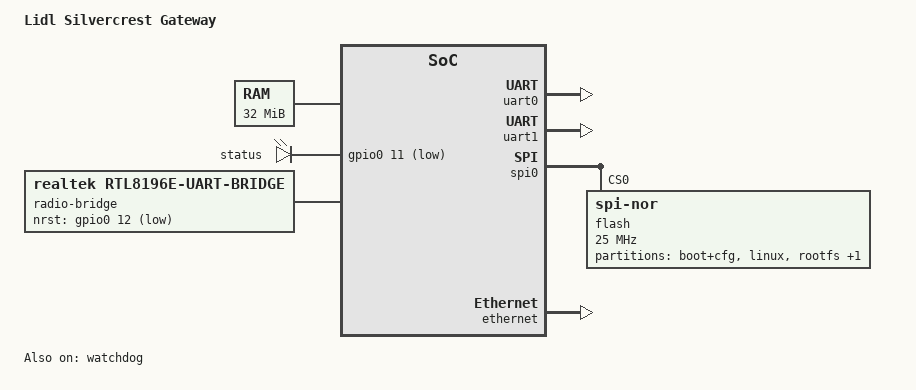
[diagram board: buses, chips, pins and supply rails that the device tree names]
// SPDX-License-Identifier: GPL-2.0
/dts-v1/;
#include <dt-bindings/gpio/gpio.h>
#include "rtl819x.dtsi"

/ {
	compatible = "realtek,rtl8196e", "realtek,rtl819x-soc";
	model = "Lidl Silvercrest Gateway";

	chosen {
	    bootargs = "console=ttyS0,38400 loglevel=7 root=/dev/mtdblock2 rootfstype=squashfs";
	};

	memory@0 {
		device_type = "memory";
		reg = <0x00000000 0x02000000>;  /* 32MB */
	};

	reserved-memory {
		#address-cells = <1>;
		#size-cells = <1>;
		ranges;

		/* One 4 KB page, high DRAM just below the btcode stack, shared
		 * by three consumers that address it RELATIVE to this node:
		 *   - boothold flag words at the page TOP (boothold tool reads
		 *     this node at runtime via /sys/firmware/devicetree),
		 *   - the watchdog panic record at the page BASE (bound via
		 *     the memory-region phandle below),
		 *   - the bootloader read side (compile-time constant per
		 *     board — must match this address).
		 * A board with a different DRAM size relocates the node (and
		 * must keep the boothold: label so the phandle resolves). */
		boothold: boothold@1ffe000 {
			reg = <0x01FFE000 0x1000>;  /* 4KB reserved for boothold flag (high DRAM, just below btcode stack) */
			no-map;
		};
	};

	leds {
		compatible = "gpio-leds-pwm";

		status-led {
			label = "status";
			gpios = <&gpio0 11 GPIO_ACTIVE_LOW>;
			default-state = "off";
		};

		/* LAN LED (GPIO B2 / LED_PORT0) is hardwired to the switch
		 * ASIC LED output — GPIO has no physical effect on this LED.
		 * It is controlled via LEDCREG in the Ethernet driver. */
	};

	/* Board wiring of the EFR32 radio link, consumed by the in-kernel
	 * rtl8196e-uart-bridge at init to seed its defaults.  Module
	 * parameters (kernel cmdline or sysfs) override these values.
	 * The node is optional: without it the driver falls back to the
	 * Lidl defaults (nRST on GPIO 12 / pad B4, hardware flow control).
	 * No platform driver binds here — the bridge looks the node up by
	 * compatible; the resulting unbound platform device is harmless.
	 *
	 * flow-control: "hw" (RTS/CTS), "sw" (XON/XOFF) or "none",
	 * matching how the board wires the EFR32 UART. */
	radio-bridge {
		compatible = "realtek,rtl8196e-uart-bridge";
		nrst-gpios = <&gpio0 12 (GPIO_ACTIVE_LOW | GPIO_OPEN_DRAIN)>;
		flow-control = "hw";
	};
};

/* Activation de l'UART0 pour la console */
&uart0 {
	status = "okay";
};

&uart1 {
	status = "okay";
};

&gpio0 {
	status = "okay";

	/* Board-level names for the SoC GPIO lines (ports A..D, 8 bits
	 * each).  Userspace finds lines by name through the GPIO cdev
	 * (s40button looks up "reset-button"), so a different board only
	 * needs to move the names — no code change.  Unwired lines stay
	 * empty. */
	gpio-line-names =
		"", "", "", "", "", "", "", "",			/* A0-A7  */
		"", "reset-button", "", "status-led",		/* B0-B3  */
		"efr32-nrst", "", "", "",			/* B4-B7  */
		"", "", "", "", "", "", "", "",			/* C0-C7  */
		"", "", "", "", "", "", "", "";			/* D0-D7  */

	/* Shared pads B2-B6 (lines 10-14) that the board wires to the
	 * switch's link/activity LED outputs.  The ethernet driver muxes
	 * listed pads to the ASIC LED function (PIN_MUX_SEL_2 field 0b00),
	 * named pads to GPIO, and pads in neither set to unclaimed GPIO
	 * (Hi-Z).  Note the LED pad is a wiring fact, not derivable from
	 * member-ports: both the Lidl (port 4) and the Sengled G4 (port 0)
	 * have their LAN LED on pad B2.  Without this property every
	 * unnamed pad falls back to the ASIC LED function. */
	realtek,led-pads = <10>;			/* B2: LAN LED */
};

&watchdog {
	status = "okay";
	/* Storage for the panic post-mortem record (base of the boothold
	 * page). Without this property — or without the reservation — the
	 * driver disables the post-mortem feature; the watchdog itself is
	 * unaffected. */
	memory-region = <&boothold>;
};

/* Configuration SPI Flash */
&spi0 {
	status = "okay";
	
	flash@0 {
		compatible = "jedec,spi-nor";
		reg = <0>;
		spi-max-frequency = <25000000>;
		
		partitions {
			compatible = "fixed-partitions";
			#address-cells = <1>;
			#size-cells = <1>;
			
			partition@0 {
				label = "boot+cfg";
				reg = <0x000000 0x020000>;      /* 128 KB */
				read-only;
			};
			
			partition@20000 {
				label = "linux";
				reg = <0x020000 0x1e0000>;      /* 1920 KB (1.9 MB) */
			};
			
			partition@200000 {
				label = "rootfs";
				reg = <0x200000 0x200000>;      /* 2 MB  */
			};

			partition@420000 {
				label = "jffs2-fs";
				reg = <0x400000 0xc00000>;      /* 12 MB */
			};
		};
	};
};

/* Ethernet configuration */
&ethernet {
	status = "okay";
	#address-cells = <1>;
	#size-cells = <0>;

	/* DT v3.0: Full VLAN configuration with multi-interface support
	 * Each child node represents one network interface (eth0, eth1, etc.)
	 * Replaces hardcoded vlanconfig[] array in rtl_nic.c:260-267
	 */

	interface@0 {
		reg = <0>;
		ifname = "eth0";

		/* No local-mac-address: driver randomises at boot.
		 * S10network generates a stable locally-administered MAC on first
		 * boot, persists it to /userdata/etc/mac_address, and restores it
		 * on every subsequent boot via "ifconfig eth0 hw ether <mac>". */

		/* VLAN configuration */
		vlan-id = <1>;              /* VLAN ID (VID) */
		forwarding-id = <0>;        /* Forwarding database ID (FID) */
		member-ports = <0x10>;      /* Port mask: 0x10 = port 4 (bit 4 set) */
		untag-ports = <0x10>;       /* Untagged port mask: port 4 untagged */
		is-wan = <0>;               /* 0 = LAN interface, 1 = WAN interface */
		mtu = <1500>;               /* Maximum transmission unit */
	};

	/* Example for future eth1/WAN interface:
	 *
	 * interface@1 {
	 *     reg = <1>;
	 *     ifname = "eth1";
	 *     local-mac-address = [02 14 B8 EE B7 55];
	 *     vlan-id = <2>;
	 *     forwarding-id = <0>;
	 *     member-ports = <0x20>;    // Port 5 (bit 5)
	 *     untag-ports = <0x20>;
	 *     is-wan = <1>;             // WAN interface
	 *     mtu = <1500>;
	 * };
	 */
};
